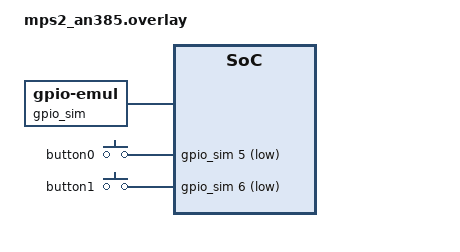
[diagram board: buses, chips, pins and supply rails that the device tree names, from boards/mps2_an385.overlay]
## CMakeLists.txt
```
# SPDX-License-Identifier: Apache-2.0

cmake_minimum_required(VERSION 3.20.0)


# Adiciona o diretório camera_service como módulo extra do Zephyr
set(ZEPHYR_EXTRA_MODULES
    ${CMAKE_CURRENT_SOURCE_DIR}/camera_service
)

find_package(Zephyr REQUIRED HINTS $ENV{ZEPHYR_BASE})
project(emb_base_sample)

# Diretório de headers
zephyr_include_directories(include)

# Arquivos .c
target_sources(app PRIVATE
    src/main.c
    src/util/display.c
    src/util/radar.c
    src/util/mercosul_plate.c
)
```

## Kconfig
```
source "Kconfig.zephyr"

menu "Speed Radar Configuration"

config DISPLAY_ANSI_COLORS
    bool "Enable ANSI colors in display"
    default y
    help
      Enable colored output for status display (green/yellow/red).

config RADAR_SENSOR_DISTANCE_MM
    int "Distance between radar sensors (mm)"
    range 1000 100000
    default 3000
    help
      Physical distance between sensor 0 and sensor 1 in millimeters.
      Used to calculate vehicle speed.

config RADAR_SPEED_LIMIT_LIGHT_KMH
    int "Speed limit for light vehicles (km/h)"
    range 30 130
    default 60
    help
      Maximum allowed speed for light vehicles (cars, motorcycles).

config RADAR_SPEED_LIMIT_HEAVY_KMH
    int "Speed limit for heavy vehicles (km/h)"
    range 30 130
    default 40
    help
      Maximum allowed speed for heavy vehicles (trucks, buses).

config RADAR_WARNING_THRESHOLD_PERCENT
    int "Warning threshold percentage"
    range 50 99
    default 90
    help
      Percentage of speed limit that triggers yellow warning status.
      For example, 90% means warning at 54 km/h for a 60 km/h limit.

config RADAR_CAMERA_FAILURE_RATE_PERCENT
    int "Camera failure simulation rate (%)"
    range 0 100
    default 10
    help
      Percentage chance that camera capture will simulate a failure.
      Set to 0 to disable failure simulation.

config RADAR_SPEED_MIN_KMH
    int "Minimum simulated speed (km/h)"
    range 20 80
    default 30
    help
      Minimum speed for random vehicle generation in simulation mode.

config RADAR_SPEED_MAX_KMH
    int "Maximum simulated speed (km/h)"
    range 80 150
    default 120
    help
      Maximum speed for random vehicle generation in simulation mode.

config RADAR_DETECTION_INTERVAL_S
    int "Detection interval (seconds)"
    range 1 30
    default 5
    help
      Time interval between simulated vehicle detections.

endmenu
```

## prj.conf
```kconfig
# ============================================
# Logging Configuration
# ============================================
CONFIG_LOG=y
CONFIG_LOG_MODE_IMMEDIATE=y
CONFIG_LOG_DEFAULT_LEVEL=3

# ============================================
# Console Configuration
# ============================================
CONFIG_UART_CONSOLE=y
CONFIG_CONSOLE=y
CONFIG_PRINTK=y

# ============================================
# Random Number Generation
# ============================================
CONFIG_TEST_RANDOM_GENERATOR=y
CONFIG_ENTROPY_GENERATOR=y

# ============================================
# Memory Configuration
# ============================================
CONFIG_MAIN_STACK_SIZE=2048
CONFIG_HEAP_MEM_POOL_SIZE=8192

# ============================================
# ZBus Configuration
# ============================================
CONFIG_ZBUS=y
CONFIG_ZBUS_MSG_SUBSCRIBER=y

# ============================================
# Runtime Checks
# ============================================
CONFIG_ASSERT=y

# ============================================
# Display Configuration
# ============================================
CONFIG_DISPLAY_ANSI_COLORS=y

# ============================================
# Radar Configuration
# ============================================
CONFIG_RADAR_SENSOR_DISTANCE_MM=3000
CONFIG_RADAR_SPEED_LIMIT_LIGHT_KMH=60
CONFIG_RADAR_SPEED_LIMIT_HEAVY_KMH=40
CONFIG_RADAR_WARNING_THRESHOLD_PERCENT=90
CONFIG_RADAR_CAMERA_FAILURE_RATE_PERCENT=10

# ============================================
# Simulation Configuration
# ============================================
CONFIG_RADAR_SPEED_MIN_KMH=30
CONFIG_RADAR_SPEED_MAX_KMH=120
CONFIG_RADAR_DETECTION_INTERVAL_S=5
```

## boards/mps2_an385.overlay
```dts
#include <zephyr/dt-bindings/gpio/gpio.h>

/ {
	aliases {
		button0 = &button0;
		button1 = &button1;
	};

	gpio_sim: gpio_sim {
		compatible = "zephyr,gpio-emul";
		status = "okay";
		gpio-controller;
		#gpio-cells = <2>;
		ngpios = <32>;

		rising-edge;
		falling-edge;
		high-level;
		low-level;
	};

	gpio_keys {
		compatible = "gpio-keys";
		debounce-interval-ms = <20>;

		button0: button_0 {
			gpios = <&gpio_sim 5 (GPIO_PULL_UP | GPIO_ACTIVE_LOW)>;
		};

		button1: button_1 {
			gpios = <&gpio_sim 6 (GPIO_PULL_UP | GPIO_ACTIVE_LOW)>;
		};
	};

    chosen {
        zephyr,display = &dummy_dc;
    };

    dummy_dc: dummy_dc {
        compatible = "zephyr,dummy-dc";
        status = "okay";
        width = <80>;
        height = <24>;
    };
};
```

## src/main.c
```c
#include <zephyr/kernel.h>
#include <zephyr/logging/log.h>
#include <zephyr/device.h>
#include <zephyr/drivers/gpio.h>
#include <zephyr/drivers/gpio/gpio_emul.h>
#include <zephyr/drivers/uart.h>
#include <zephyr/sys/printk.h>
#include <zephyr/zbus/zbus.h>
#include "display.h"
#include "radar.h"
#include "mercosul_plate.h"
#include "camera_service.h"

LOG_MODULE_REGISTER(main, LOG_LEVEL_INF);

/* ============================================================================
 * CONFIGURATION CONSTANTS
 * ============================================================================ */
#define VEHICLE_TIMEOUT_MS  1500   /* Axle detection timeout */
#define SPEED_TIMEOUT_MS    5000   /* Speed measurement timeout */
#define MIN_SPEED_DT_MS     50     /* Minimum time between sensors */
#define MAX_SPEED_DT_MS     15000  /* Maximum time between sensors */

#define SENSOR_POLL_MS      20     /* Sensor queue polling interval */
#define MAIN_LOOP_DELAY_MS  20     /* Main loop delay */

#define MAX_SPEED_KMH       300    /* Maximum valid speed */

/* ============================================================================
 * TYPE DEFINITIONS
 * ============================================================================ */

/* Radar state machine states */
enum radar_state {
    STATE_IDLE = 0,
    STATE_READING,
    STATE_DONE
};

/* Sensor event types */
enum sensor_event {
    EVENT_SENSOR_0 = 0,  /* Axle detection sensor */
    EVENT_SENSOR_1,      /* Speed measurement sensor */
    EVENT_TIMEOUT        /* Timer expired */
};

/* Sensor event data */
struct sensor_data {
    enum sensor_event event;
    uint32_t timestamp;
};

/* Vehicle detection result */
struct vehicle_data {
    uint8_t speed;
    vehicle_type_t type;
    uint8_t axle_count;
};

/* Display message structure */
struct display_msg {
    uint8_t speed;
    vehicle_type_t type;
};

/* System statistics */
struct detection_stats {
    uint32_t total_detections;
    uint32_t speed_violations;
    uint32_t invalid_plates;
};

/* Vehicle detection context */
struct detection_context {
    uint8_t axle_count;
    uint32_t start_timestamp;
    bool speed_calculated;
};

/* ============================================================================
 * FORWARD DECLARATIONS
 * ============================================================================ */
void vehicle_timeout_handler(struct k_timer *timer);

/* ============================================================================
 * GLOBAL VARIABLES
 * ============================================================================ */

/* Message queues */
K_MSGQ_DEFINE(sensor_queue, sizeof(struct sensor_data), 10, 4);
K_MSGQ_DEFINE(vehicle_queue, sizeof(struct vehicle_data), 10, 4);
K_MSGQ_DEFINE(display_queue, sizeof(struct display_msg), 10, 4);

/* ZBus subscriber for camera events */
ZBUS_MSG_SUBSCRIBER_DEFINE(msub_camera_evt);
ZBUS_CHAN_ADD_OBS(chan_camera_evt, msub_camera_evt, 3);

/* Console device */
static const struct device *const console_dev = 
    DEVICE_DT_GET(DT_CHOSEN(zephyr_console));

/* GPIO sensors */
static const struct gpio_dt_spec sensor0 = 
    GPIO_DT_SPEC_GET(DT_ALIAS(button0), gpios);
static const struct gpio_dt_spec sensor1 = 
    GPIO_DT_SPEC_GET(DT_ALIAS(button1), gpios);

static struct gpio_callback sensor0_cb_data;
static struct gpio_callback sensor1_cb_data;

/* State machine */
static enum radar_state current_state = STATE_IDLE;
static struct detection_stats stats = {0};

/* Timer */
K_TIMER_DEFINE(vehicle_timeout, vehicle_timeout_handler, NULL);

/* ============================================================================
 * HELPER FUNCTIONS
 * ============================================================================ */

/**
 * @brief Validate time delta for speed calculation
 * @param dt_ms Time delta in milliseconds
 * @return true if valid, false otherwise
 */
static inline bool is_valid_time_delta(uint32_t dt_ms)
{
    return (dt_ms >= MIN_SPEED_DT_MS && dt_ms <= MAX_SPEED_DT_MS);
}

/**
 * @brief Validate speed range
 * @param speed Speed in km/h
 * @return true if valid, false otherwise
 */
static inline bool is_valid_speed(uint32_t speed)
{
    return (speed > 0 && speed <= MAX_SPEED_KMH);
}

/**
 * @brief Calculate speed from time delta
 * @param dt_ms Time delta in milliseconds
 * @return Speed in km/h, or 0 if invalid
 */
static uint8_t calculate_speed(uint32_t dt_ms)
{
    if (!is_valid_time_delta(dt_ms)) {
        return 0;
    }

    /* Formula: v = (distance / time) * 3.6 
     * distance in mm, time in ms -> result in km/h */
    uint32_t speed = (CONFIG_RADAR_SENSOR_DISTANCE_MM * 3600UL) / 
                     (dt_ms * 1000UL);

    if (!is_valid_speed(speed)) {
        return 0;
    }

    return (uint8_t)speed;
}

/**
 * @brief Classify vehicle based on axle count
 * @param axle_count Number of detected axles
 * @param type Output parameter for vehicle type
 * @return true if valid classification, false otherwise
 */
static bool classify_vehicle(uint8_t axle_count, vehicle_type_t *type)
{
    if (axle_count == 2) {
        *type = VEHICLE_LIGHT;
        return true;
    } 
    
    if (axle_count >= 3) {
        *type = VEHICLE_HEAVY;
        return true;
    }
    
    return false;
}

/**
 * @brief Reset detection context
 * @param ctx Detection context to reset
 */
static inline void reset_detection_context(struct detection_context *ctx)
{
    memset(ctx, 0, sizeof(*ctx));
}

/**
 * @brief Start detection timeout timer
 * @param timeout_ms Timeout in milliseconds
 */
static void start_detection_timer(uint32_t timeout_ms)
{
    k_timer_stop(&vehicle_timeout);
    k_timer_start(&vehicle_timeout, K_MSEC(timeout_ms), K_NO_WAIT);
}

/* ============================================================================
 * SENSOR EVENT HANDLERS
 * ============================================================================ */

/**
 * @brief Handle first axle detection (start of vehicle)
 * @param ctx Detection context
 * @param timestamp Event timestamp
 */
static void handle_first_axle(struct detection_context *ctx, uint32_t timestamp)
{
    ctx->axle_count = 1;
    ctx->start_timestamp = timestamp;
    current_state = STATE_READING;
    start_detection_timer(VEHICLE_TIMEOUT_MS);
    stats.total_detections++;
}

/**
 * @brief Handle additional axle detection
 * @param ctx Detection context
 */
static void handle_additional_axle(struct detection_context *ctx)
{
    ctx->axle_count++;
    start_detection_timer(VEHICLE_TIMEOUT_MS);
}

/**
 * @brief Handle speed sensor trigger
 * @param ctx Detection context
 * @param vehicle Vehicle data to update
 * @param timestamp Event timestamp
 */
static void handle_speed_sensor(struct detection_context *ctx,
                                struct vehicle_data *vehicle,
                                uint32_t timestamp)
{
    if (ctx->speed_calculated) {
        return;
    }

    uint32_t dt = timestamp - ctx->start_timestamp;
    vehicle->speed = calculate_speed(dt);
    
    if (vehicle->speed > 0) {
        ctx->speed_calculated = true;
    }
    
    /* Extend timeout to allow final axle detection */
    start_detection_timer(SPEED_TIMEOUT_MS);
}

/**
 * @brief Process completed detection
 * @param ctx Detection context
 * @param vehicle Vehicle data
 * @return true if valid detection, false otherwise
 */
static bool process_completed_detection(struct detection_context *ctx,
                                        struct vehicle_data *vehicle)
{
    /* Validate speed measurement */
    if (!ctx->speed_calculated) {
        return false;
    }

    /* Classify vehicle */
    if (!classify_vehicle(ctx->axle_count, &vehicle->type)) {
        return false;
    }

    vehicle->axle_count = ctx->axle_count;
    return true;
}

/* ============================================================================
 * GPIO CALLBACKS
 * ============================================================================ */

/**
 * @brief Sensor 0 interrupt callback (axle detection)
 */
static void sensor0_callback(const struct device *dev, 
                             struct gpio_callback *cb, 
                             uint32_t pins)
{
    ARG_UNUSED(dev);
    ARG_UNUSED(cb);
    ARG_UNUSED(pins);

    struct sensor_data data = {
        .event = EVENT_SENSOR_0,
        .timestamp = k_uptime_get_32()
    };
    k_msgq_put(&sensor_queue, &data, K_NO_WAIT);
}

/**
 * @brief Sensor 1 interrupt callback (speed measurement)
 */
static void sensor1_callback(const struct device *dev, 
                             struct gpio_callback *cb, 
                             uint32_t pins)
{
    ARG_UNUSED(dev);
    ARG_UNUSED(cb);
    ARG_UNUSED(pins);

    struct sensor_data data = {
        .event = EVENT_SENSOR_1,
        .timestamp = k_uptime_get_32()
    };
    k_msgq_put(&sensor_queue, &data, K_NO_WAIT);
}

/**
 * @brief Timeout handler - vehicle passed
 */
void vehicle_timeout_handler(struct k_timer *timer)
{
    ARG_UNUSED(timer);

    struct sensor_data data = {
        .event = EVENT_TIMEOUT,
        .timestamp = k_uptime_get_32()
    };
    k_msgq_put(&sensor_queue, &data, K_NO_WAIT);
}

/* ============================================================================
 * CAMERA HANDLING
 * ============================================================================ */

/**
 * @brief Print violation record
 * @param plate License plate
 * @param hash Plate hash
 * @param is_valid Plate validity
 */
static void print_violation_record(const char *plate, 
                                   const char *hash, 
                                   bool is_valid)
{
    printk("\n");
    printk("================================================================================\n");
    printk("                            VIOLATION RECORD\n");
    printk("================================================================================\n");
    printk("Plate:  %s\n", plate);
    printk("Hash:   %s\n", hash);
    printk("Status: %s\n", is_valid ? 
           "✓ Valid Mercosul plate" : "✗ Invalid plate format");
    printk("================================================================================\n");
    printk("\n");
}

/**
 * @brief Handle camera capture and validation
 * @return 0 on success, negative error code otherwise
 */
static int handle_camera_capture(void)
{
    const struct zbus_channel *chan;
    struct msg_camera_evt rsp;
    int err;

    /* Initiate camera capture */
    err = camera_api_capture(K_FOREVER);
    if (err) {
        printk("\n");
        printk("================================================================================\n");
        printk("Camera capture error: %d\n", err);
        printk("================================================================================\n");
        printk("\n");
        return err;
    }

    /* Wait for camera response */
    err = zbus_sub_wait_msg(&msub_camera_evt, &chan, &rsp, K_FOREVER);
    if (err) {
        printk("\n");
        printk("================================================================================\n");
        printk("Camera event error: %d\n", err);
        printk("================================================================================\n");
        printk("\n");
        return err;
    }

    /* Handle camera error */
    if (rsp.type == MSG_CAMERA_EVT_TYPE_ERROR) {
        printk("\n");
        printk("================================================================================\n");
        printk("Camera service unavailable - Error code: %d\n", rsp.error_code);
        printk("================================================================================\n");
        printk("\n");
        return -EIO;
    }

    /* Process captured data */
    if (rsp.type == MSG_CAMERA_EVT_TYPE_DATA) {
        const char *plate = rsp.captured_data->plate;
        const char *hash = rsp.captured_data->hash;
        bool is_valid = mercosul_plate_is_valid(plate);

        if (!is_valid) {
            stats.invalid_plates++;
        }

        print_violation_record(plate, hash, is_valid);
    }

    return 0;
}

/* ============================================================================
 * THREAD FUNCTIONS
 * ============================================================================ */

/**
 * @brief Sensor processing thread
 * Monitors GPIO interrupts, implements state machine for axle counting
 * and speed measurement. Sends vehicle data to control thread via message queue.
 */
static void sensor_thread(void *arg1, void *arg2, void *arg3)
{
    ARG_UNUSED(arg1);
    ARG_UNUSED(arg2);
    ARG_UNUSED(arg3);

    struct sensor_data sensor_event;
    struct vehicle_data vehicle = {0};
    struct detection_context ctx = {0};

    while (1) {
        /* Wait for sensor event */
        if (current_state != STATE_DONE) {
            int err = k_msgq_get(&sensor_queue, &sensor_event, 
                                K_MSEC(SENSOR_POLL_MS));
            if (err) {
                continue;
            }
        }

        /* State machine */
        switch (current_state) {
        case STATE_IDLE:
            if (sensor_event.event == EVENT_SENSOR_0) {
                handle_first_axle(&ctx, sensor_event.timestamp);
            }
            break;

        case STATE_READING:
            if (sensor_event.event == EVENT_SENSOR_0) {
                handle_additional_axle(&ctx);
            } else if (sensor_event.event == EVENT_SENSOR_1) {
                handle_speed_sensor(&ctx, &vehicle, sensor_event.timestamp);
            } else if (sensor_event.event == EVENT_TIMEOUT) {
                current_state = STATE_DONE;
            }
            break;

        case STATE_DONE:
            /* Process detection */
            if (process_completed_detection(&ctx, &vehicle)) {
                k_msgq_put(&vehicle_queue, &vehicle, K_NO_WAIT);
            }

            /* Reset for next detection */
            current_state = STATE_IDLE;
            reset_detection_context(&ctx);
            memset(&vehicle, 0, sizeof(vehicle));
            break;
        }
    }
}

/**
 * @brief Control thread - orchestrates system
 * Receives vehicle data, detects violations (applying correct limits),
 * triggers camera, validates plates, and sends display updates.
 */
static void control_thread(void *arg1, void *arg2, void *arg3)
{
    ARG_UNUSED(arg1);
    ARG_UNUSED(arg2);
    ARG_UNUSED(arg3);

    struct vehicle_data vehicle;
    struct display_msg display_data;

    while (1) {
        /* Wait for vehicle data from sensor thread */
        int err = k_msgq_get(&vehicle_queue, &vehicle, K_FOREVER);
        if (err) {
            continue;
        }

        /* Prepare display message */
        display_data.speed = vehicle.speed;
        display_data.type = vehicle.type;

        /* Send to display thread */
        k_msgq_put(&display_queue, &display_data, K_NO_WAIT);

        /* Check for speed violations */
        speed_check_t check = check_speed(vehicle.speed, vehicle.type);
        
        if (check.status == STATUS_VIOLATION) {
            stats.speed_violations++;
            handle_camera_capture();
        }
    }
}

/**
 * @brief Display thread - updates virtual display
 * Receives display messages and formats output with ANSI colors
 * based on status (Normal, Warning, Violation).
 */
static void display_thread(void *arg1, void *arg2, void *arg3)
{
    ARG_UNUSED(arg1);
    ARG_UNUSED(arg2);
    ARG_UNUSED(arg3);

    struct display_msg msg;

    while (1) {
        /* Wait for display update message from control thread */
        if (k_msgq_get(&display_queue, &msg, K_FOREVER) == 0) {
            /* Update display with vehicle information */
            display_show(msg.speed, msg.type);
        }
    }
}

/* ============================================================================
 * USER INTERFACE
 * ============================================================================ */

/**
 * @brief Print system statistics
 */
static void print_statistics(void)
{
    printk("\n");
    printk("================================================================================\n");
    printk("                           DETECTION STATISTICS\n");
    printk("================================================================================\n");
    printk("Total Detections:  %u\n", stats.total_detections);
    printk("Speed Violations:  %u\n", stats.speed_violations);
    printk("Invalid Plates:    %u\n", stats.invalid_plates);
    printk("================================================================================\n");
    printk("\n");
}

/**
 * @brief Print system banner
 */
static void print_banner(void)
{
    printk("\n");
    printk("================================================================================\n");
    printk("                           SPEED RADAR SYSTEM\n");
    printk("================================================================================\n");
    printk("Sensor Distance: %d mm\n", CONFIG_RADAR_SENSOR_DISTANCE_MM);
    printk("Light Limit:     %d km/h\n", CONFIG_RADAR_SPEED_LIMIT_LIGHT_KMH);
    printk("Heavy Limit:     %d km/h\n", CONFIG_RADAR_SPEED_LIMIT_HEAVY_KMH);
    printk("================================================================================\n");
    printk("Controls:\n");
    printk("  Press 's' → Show statistics\n");
    printk("================================================================================\n");
    printk("\n");
}

/* ============================================================================
 * GPIO SETUP
 * ============================================================================ */

/**
 * @brief Setup GPIO sensor
 * @param spec GPIO specification
 * @param cb_data Callback data
 * @param callback Callback function
 * @return 0 on success, negative error code otherwise
 */
static int setup_gpio_sensor(const struct gpio_dt_spec *spec,
                             struct gpio_callback *cb_data,
                             gpio_callback_handler_t callback)
{
    int ret;

    ret = gpio_pin_configure_dt(spec, GPIO_INPUT);
    if (ret < 0) {
        return ret;
    }

    gpio_init_callback(cb_data, callback, BIT(spec->pin));
    gpio_add_callback(spec->port, cb_data);

    ret = gpio_pin_interrupt_configure_dt(spec, GPIO_INT_EDGE_TO_ACTIVE);
    if (ret != 0) {
        return ret;
    }

    return 0;
}

/**
 * @brief Initialize GPIO sensors
 * @return 0 on success, negative error code otherwise
 */
static int init_gpio_sensors(void)
{
    int ret;

    /* Check GPIO devices */
    if (!gpio_is_ready_dt(&sensor0) || !gpio_is_ready_dt(&sensor1)) {
        LOG_ERR("GPIO devices not ready");
        return -ENODEV;
    }

    /* Setup sensor 0 */
    ret = setup_gpio_sensor(&sensor0, &sensor0_cb_data, sensor0_callback);
    if (ret < 0) {
        LOG_ERR("Failed to setup sensor 0: %d", ret);
        return ret;
    }

    /* Setup sensor 1 */
    ret = setup_gpio_sensor(&sensor1, &sensor1_cb_data, sensor1_callback);
    if (ret < 0) {
        LOG_ERR("Failed to setup sensor 1: %d", ret);
        return ret;
    }

    return 0;
}

/* ============================================================================
 * INPUT HANDLING
 * ============================================================================ */

/**
 * @brief Process keyboard input
 * @param key Pressed key
 */
static void process_keyboard_input(uint8_t key)
{
    switch (key) {
    case '1':
        /* Simulate Sensor 0 (axle detection) */
        gpio_emul_input_set(sensor0.port, sensor0.pin, 1);
        gpio_emul_input_set(sensor0.port, sensor0.pin, 0);
        break;
        
    case '2':
        /* Simulate Sensor 1 (speed measurement) */
        gpio_emul_input_set(sensor1.port, sensor1.pin, 1);
        gpio_emul_input_set(sensor1.port, sensor1.pin, 0);
        break;
        
    case 's':
    case 'S':
        print_statistics();
        break;
    }
}

/* ============================================================================
 * MAIN FUNCTION
 * ============================================================================ */

/**
 * @brief Main application entry point
 */
int main(void)
{
    uint8_t key;
    int ret;

    /* Print system banner */
    print_banner();

    /* Initialize GPIO sensors */
    ret = init_gpio_sensors();
    if (ret < 0) {
        LOG_ERR("Failed to initialize GPIO sensors: %d", ret);
        return ret;
    }

    /* Main loop - keyboard input simulation */
    while (1) {
        if (!uart_poll_in(console_dev, &key)) {
            process_keyboard_input(key);
        }
        k_msleep(MAIN_LOOP_DELAY_MS);
    }

    return 0;
}

/* ============================================================================
 * THREAD DEFINITIONS
 * ============================================================================ */
K_THREAD_DEFINE(sensor_thread_id, 1024, sensor_thread, NULL, NULL, NULL, 5, 0, 0);
K_THREAD_DEFINE(control_thread_id, 2048, control_thread, NULL, NULL, NULL, 5, 0, 0);
K_THREAD_DEFINE(display_thread_id, 1024, display_thread, NULL, NULL, NULL, 5, 0, 0);
```

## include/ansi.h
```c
#ifndef ANSI_H
#define ANSI_H

/* Text styles */
#define ANSI_RESET      "\033[0m"
#define ANSI_BOLD       "\033[1m"

/* Foreground colors */
#define ANSI_RED        "\033[31m"
#define ANSI_GREEN      "\033[32m"
#define ANSI_YELLOW     "\033[33m"
#define ANSI_CYAN       "\033[36m"

#endif /* ANSI_H */
```

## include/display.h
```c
#ifndef DISPLAY_H
#define DISPLAY_H

#include <stdint.h>
#include "radar.h"

void display_show(uint8_t speed, vehicle_type_t type);

#endif /* DISPLAY_H */
```

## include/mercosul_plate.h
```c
#ifndef MERCOSUL_PLATE_H
#define MERCOSUL_PLATE_H

#include <stdbool.h>

/**
 * Validates Mercosul license plate format.
 * Supports: Brazil, Argentina, Venezuela, Uruguay, Paraguay, Bolivia.
 * Input can contain spaces, hyphens, and is case-insensitive.
 */
bool mercosul_plate_is_valid(const char *raw);

/**
 * Returns country identification for the plate format.
 */
const char *mercosul_plate_get_country(const char *raw);

#endif /* MERCOSUL_PLATE_H */
```

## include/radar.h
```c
#ifndef RADAR_H
#define RADAR_H

#include <stdint.h>

typedef enum {
    VEHICLE_LIGHT,
    VEHICLE_HEAVY
} vehicle_type_t;

typedef enum {
    STATUS_NORMAL,
    STATUS_WARNING,
    STATUS_VIOLATION
} speed_status_t;

typedef struct {
    uint8_t limit;
    speed_status_t status;
} speed_check_t;

speed_check_t check_speed(uint8_t speed, vehicle_type_t type);

#endif /* RADAR_H */
```

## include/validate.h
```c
#ifndef VALIDATE_H
#define VALIDATE_H

#include <stdbool.h>

#ifdef __cplusplus
extern "C" {
#endif

/**
 * Validates Mercosul license plate format.
 * Supports: Brazil, Argentina, Venezuela, Uruguay, Paraguay, Bolivia.
 * Input can contain spaces, hyphens, and is case-insensitive.
 */
bool plate_is_valid(const char *raw);

/**
 * Returns country identification for the plate format.
 * Useful for debugging and reporting.
 */
const char *plate_get_country(const char *raw);

#ifdef __cplusplus
}
#endif

#endif /* VALIDATE_H */
```

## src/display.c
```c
#include "display.h"
#include "ansi.h"
#include <zephyr/kernel.h>
#include <zephyr/sys/printk.h>

/* Display styling configuration */
typedef struct {
    const char *label;
    const char *color;
} status_style_t;

static const status_style_t STATUS_STYLES[] = {
    [STATUS_NORMAL]    = {"NORMAL",    ANSI_GREEN},
    [STATUS_WARNING]   = {"WARNING",   ANSI_YELLOW},
    [STATUS_VIOLATION] = {"VIOLATION", ANSI_RED}
};

static const char * const VEHICLE_TYPES[] = {
    [VEHICLE_LIGHT] = "LIGHT",
    [VEHICLE_HEAVY] = "HEAVY"
};

/**
 * @brief Clear display by printing blank lines
 */
static void clear_display(void)
{
    /* Clear screen using ANSI codes */
    printk("\033[2J\033[H");
}

/**
 * @brief Render display header section
 */
static void render_header(void)
{
    printk("\n");
    printk("═══════════════════════════════════════\n");
    printk(ANSI_BOLD "       SPEED RADAR SYSTEM" ANSI_RESET "\n");
    printk("═══════════════════════════════════════\n");
}

/**
 * @brief Render vehicle information section
 * @param speed Vehicle speed in km/h
 * @param type Vehicle type
 * @param check Speed check result containing limit and status
 */
static void render_info(uint8_t speed, vehicle_type_t type, const speed_check_t *check)
{
    const status_style_t *style = &STATUS_STYLES[check->status];
    
    printk("\n");
    printk("  Vehicle:  " ANSI_CYAN "%s" ANSI_RESET "\n", VEHICLE_TYPES[type]);
    printk("  Speed:    " ANSI_CYAN "%u km/h" ANSI_RESET "\n", speed);
    printk("  Limit:    " ANSI_CYAN "%u km/h" ANSI_RESET "\n", check->limit);
    printk("  Status:   %s%s" ANSI_RESET "\n", style->color, style->label);
    printk("\n");
    printk("═══════════════════════════════════════\n\n");
}

void display_show(uint8_t speed, vehicle_type_t type)
{
    /* Get speed check result */
    speed_check_t check = check_speed(speed, type);

    /* Clear and render display */
    clear_display();
    render_header();
    render_info(speed, type, &check);
}
```

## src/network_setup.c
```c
#include <string.h>
#include <zephyr/kernel.h>
#include <zephyr/logging/log.h>
#include <zephyr/net/dns_resolve.h>
#include <zephyr/net/net_event.h>
#include <zephyr/net/net_if.h>
#include <zephyr/net/socket.h>
#include <zephyr/net/wifi_mgmt.h>

#define DHCP_TIMEOUT K_SECONDS(30)
#define CONNECTIVITY_TEST_HOSTNAME "google.com"
#define CONNECTIVITY_TEST_PORT "80"

static struct k_sem g_ip_acquired_sem;
static struct net_mgmt_event_callback g_ipv4_event_callback;

bool is_wifi_connected = false;
int app_auto_init(void);

LOG_MODULE_REGISTER(wifi_manager, LOG_LEVEL_INF);

static void on_net_event_ipv4_addr_add(struct net_mgmt_event_callback *cb,
                       uint64_t mgmt_event, struct net_if *iface);
static int request_wifi_connection(const char *ssid, const char *psk);
static int test_dns_connectivity(void);


static void on_net_event_ipv4_addr_add(struct net_mgmt_event_callback *cb,
                       uint64_t mgmt_event, struct net_if *iface)
{
    if (mgmt_event == NET_EVENT_IPV4_ADDR_ADD) {
        char ip[NET_IPV4_ADDR_LEN];
        const struct net_if_config *cfg = net_if_get_config(iface);

        if (cfg && cfg->ip.ipv4) {
            net_addr_ntop(AF_INET, &cfg->ip.ipv4->unicast[0].ipv4.address.in_addr, ip,
                      sizeof(ip));
            LOG_INF("DHCP OK: %s", ip);
            k_sem_give(&g_ip_acquired_sem);
        }
    }
}

static int request_wifi_connection(const char *ssid, const char *psk)
{
    struct net_if *iface = net_if_get_default();
    struct wifi_connect_req_params p = {0};

    p.ssid = ssid;
    p.ssid_length = strlen(ssid);
    p.psk = psk;
    p.psk_length = strlen(psk);
    p.security = WIFI_SECURITY_TYPE_PSK;
    p.channel = WIFI_CHANNEL_ANY;

    int ret = net_mgmt(NET_REQUEST_WIFI_CONNECT, iface, &p, sizeof(p));
    if (ret) {
        LOG_ERR("Falha NET_REQUEST_WIFI_CONNECT (%d)", ret);
        return ret;
    }

    LOG_INF("Conectando ao AP \"%s\" ...", ssid);
    return 0;
}

static int test_dns_connectivity(void)
{
    struct zsock_addrinfo hints = {0}, *res = NULL;
    hints.ai_family = AF_INET;
    hints.ai_socktype = SOCK_STREAM;

    int ret = zsock_getaddrinfo(CONNECTIVITY_TEST_HOSTNAME, CONNECTIVITY_TEST_PORT, &hints, &res);
    if (ret) {
        LOG_ERR("DNS failed (%d)", ret);
        return -1;
    }

    char ipbuf[NET_IPV4_ADDR_LEN];
    struct sockaddr_in *a = (struct sockaddr_in *)res->ai_addr;
    net_addr_ntop(AF_INET, &a->sin_addr, ipbuf, sizeof(ipbuf));
    LOG_INF("DNS OK: %s -> %s", ipbuf, CONNECTIVITY_TEST_HOSTNAME);

    zsock_freeaddrinfo(res);
    return 0;
}

int app_auto_init(void)
{
    LOG_INF("Iniciando gerenciador de Wi-Fi");

    k_sem_init(&g_ip_acquired_sem, 0, 1);
    net_mgmt_init_event_callback(&g_ipv4_event_callback, on_net_event_ipv4_addr_add,
                   NET_EVENT_IPV4_ADDR_ADD);
    net_mgmt_add_event_callback(&g_ipv4_event_callback);

    if (request_wifi_connection(CONFIG_WIFI_SSID, CONFIG_WIFI_PASSWD) != 0) {
        return -EIO;
    }

    if (k_sem_take(&g_ip_acquired_sem, DHCP_TIMEOUT) != 0) {
        LOG_ERR("DHCP Timeout");
        return -ETIMEDOUT;
    }

    if (test_dns_connectivity() != 0) {
        LOG_ERR("Falha no teste de conectividade DNS");
        return -EHOSTUNREACH;
    }

    is_wifi_connected = true;

    return 0;
}
```

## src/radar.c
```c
#include "radar.h"
#include <zephyr/kernel.h>
#include <zephyr/logging/log.h>

LOG_MODULE_REGISTER(radar, LOG_LEVEL_DBG);

/* Speed limit configuration table */
static const uint8_t speed_limits[] = {
    [VEHICLE_LIGHT] = CONFIG_DISPLAY_LIMIT_LIGHT,
    [VEHICLE_HEAVY] = CONFIG_DISPLAY_LIMIT_HEAVY
};

/**
 * @brief Calculate warning threshold based on limit percentage
 * @param limit Speed limit in km/h
 * @return Warning threshold in km/h
 */
static inline uint8_t get_warning_threshold(uint8_t limit)
{
    return (limit * CONFIG_DISPLAY_ALERT_PERCENT) / 100;
}

/**
 * @brief Evaluate speed status based on limit and threshold
 * @param speed Measured speed in km/h
 * @param limit Speed limit in km/h
 * @param threshold Warning threshold in km/h
 * @return Speed status (NORMAL, WARNING, or VIOLATION)
 */
static speed_status_t evaluate_status(uint8_t speed, uint8_t limit, uint8_t threshold)
{
    if (speed > limit) {
        return STATUS_VIOLATION;
    }
    if (speed >= threshold) {
        return STATUS_WARNING;
    }
    return STATUS_NORMAL;
}

speed_check_t check_speed(uint8_t speed, vehicle_type_t type)
{
    speed_check_t result;

    /* Get limit and evaluate */
    result.limit = speed_limits[type];
    uint8_t threshold = get_warning_threshold(result.limit);
    result.status = evaluate_status(speed, result.limit, threshold);

    LOG_DBG("Check: %d km/h (limit=%d, threshold=%d) -> %d",
            speed, result.limit, threshold, result.status);

    return result;
}
```
